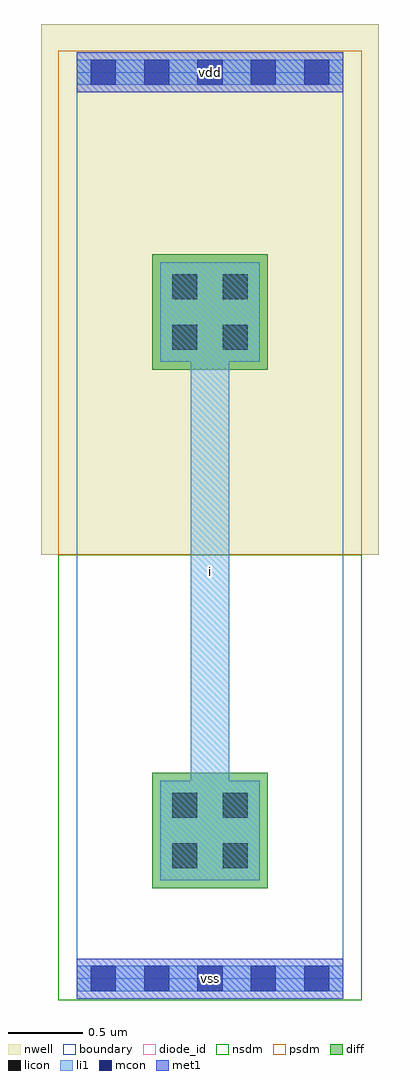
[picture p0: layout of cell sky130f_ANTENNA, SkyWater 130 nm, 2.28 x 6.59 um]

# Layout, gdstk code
import gdstk
lib = gdstk.Library(unit=1e-6, precision=1e-09)
def R(c, l, rs):  # rectangles x0, y0, x1, y1
    for r in rs: c.add(gdstk.rectangle(r[:2], r[2:], *l))
def A(c, l, x, y, w, h, nx, ny, dx, dy):  # array of equal rectangles
    R(c, l, [(x+i*dx, y+j*dy, x+i*dx+w, y+j*dy+h) for i in range(nx) for j in range(ny)])
nwell = (64, 20)
diff = (65, 20)
licon = (66, 44)
li1 = (67, 20)
mcon = (67, 44)
met1 = (68, 20)
diode_id = (81, 23)
nsdm = (93, 44)
psdm = (94, 20)
boundary = (235, 4)

sky130f_antenna = lib.new_cell('sky130f_ANTENNA')
R(sky130f_antenna, nwell, [(-0.24,2.86,2.04,6.445)])
R(sky130f_antenna, diff, [(0.51,0.61,1.29,1.39), (0.51,4.11,1.29,4.89)])
R(sky130f_antenna, licon, [(0.645,0.745,0.815,0.915), (0.985,0.745,1.155,0.915), (0.645,1.085,0.815,1.255), (0.985,1.085,1.155,1.255), (0.645,4.245,0.815,4.415), (0.985,4.245,1.155,4.415), (0.645,4.585,0.815,4.755), (0.985,4.585,1.155,4.755)])
R(sky130f_antenna, li1, [(0,-0.085,1.8,0.085), (0.565,0.665,1.235,1.335), (0.77,1,1.03,4.5), (0.565,4.165,1.235,4.835), (0,6.035,1.8,6.205)])
A(sky130f_antenna, mcon, 0.095, -0.085, 0.17, 0.17, 5, 2, 0.36, 6.12)
R(sky130f_antenna, met1, [(0,-0.135,1.8,0.135), (0,5.985,1.8,6.255)])
R(sky130f_antenna, diode_id, [(0.51,0.61,1.29,1.39), (0.51,4.11,1.29,4.89)])
R(sky130f_antenna, nsdm, [(-0.125,-0.145,1.925,2.86)])
R(sky130f_antenna, psdm, [(-0.125,2.86,1.925,6.265)])
R(sky130f_antenna, boundary, [(0,0,1.8,6.12)])
sky130f_antenna.add(gdstk.Label('vss', (0.9,0), layer=67, texttype=5))
sky130f_antenna.add(gdstk.Label('vdd', (0.9,6.12), layer=67, texttype=5))
sky130f_antenna.add(gdstk.Label('i', (0.9,2.75), layer=67, texttype=5))
sky130f_antenna.add(gdstk.Label('vss', (0.9,0), layer=68, texttype=5))
sky130f_antenna.add(gdstk.Label('vdd', (0.9,6.12), layer=68, texttype=5))

lib.write_gds('sky130f_ANTENNA.gds')
